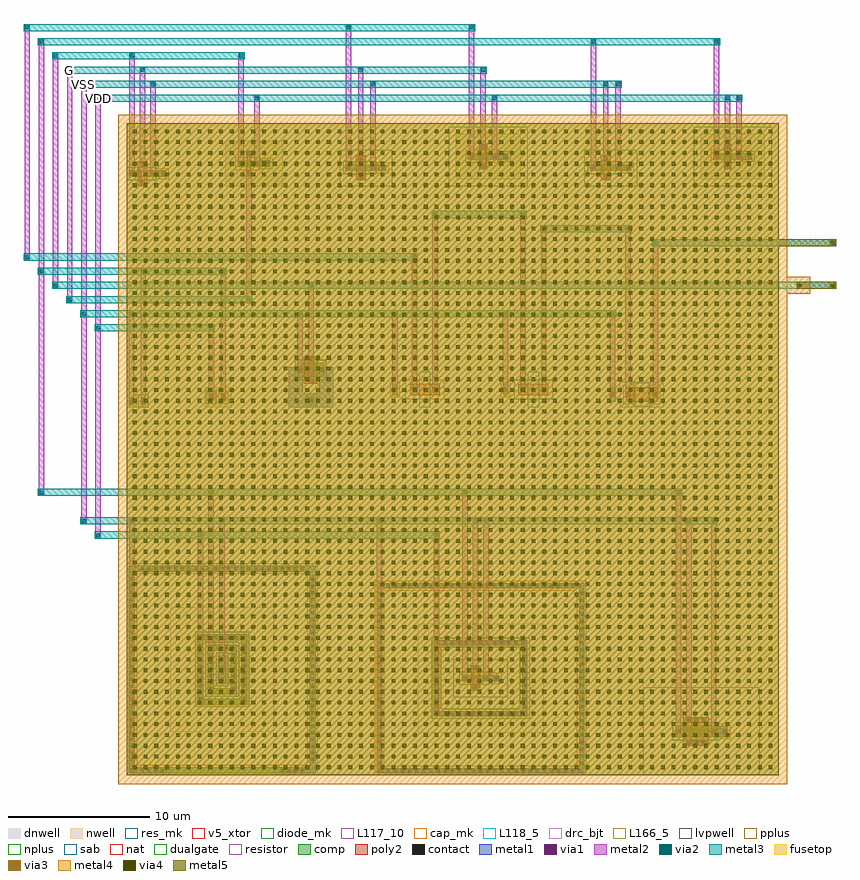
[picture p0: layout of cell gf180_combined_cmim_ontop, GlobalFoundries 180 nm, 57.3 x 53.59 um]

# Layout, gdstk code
import gdstk
lib = gdstk.Library(unit=1e-6, precision=1e-09)
def R(c, l, rs):  # rectangles x0, y0, x1, y1
    for r in rs: c.add(gdstk.rectangle(r[:2], r[2:], *l))
def A(c, l, x, y, w, h, nx, ny, dx, dy):  # array of equal rectangles
    R(c, l, [(x+i*dx, y+j*dy, x+i*dx+w, y+j*dy+h) for i in range(nx) for j in range(ny)])
def P(c, l, *ps):  # polygons
    for p in ps: c.add(gdstk.Polygon(p, *l))
nat = (5, 0)
dnwell = (12, 0)
nwell = (21, 0)
comp = (22, 0)
poly2 = (30, 0)
pplus = (31, 0)
nplus = (32, 0)
contact = (33, 0)
metal1 = (34, 0)
via1 = (35, 0)
metal2 = (36, 0)
via2 = (38, 0)
via3 = (40, 0)
via4 = (41, 0)
metal3 = (42, 0)
metal4 = (46, 0)
sab = (49, 0)
dualgate = (55, 0)
resistor = (62, 0)
fusetop = (75, 0)
metal5 = (81, 0)
res_mk = (110, 5)
v5_xtor = (112, 1)
diode_mk = (115, 5)
cap_mk = (117, 5)
L117_10 = (117, 10)
L118_5 = (118, 5)
drc_bjt = (127, 5)
L166_5 = (166, 5)
lvpwell = (204, 0)

npn_00p54x02p00 = lib.new_cell('npn_00p54x02p00')
R(npn_00p54x02p00, dnwell, [(3.2,3.2,10.54,12)])
R(npn_00p54x02p00, comp, [(6.6,6.6,7.14,8.6)])
P(npn_00p54x02p00, comp, [(5.86,5.86),(5.86,9.34),(7.46,9.34),(7.46,8.92),(6.28,8.92),(6.28,6.28),(7.46,6.28),(7.46,9.34),(7.88,9.34),(7.88,5.86)],
  [(5.12,5.12),(5.12,10.08),(8.2,10.08),(8.2,9.66),(5.54,9.66),(5.54,5.54),(8.2,5.54),(8.2,10.08),(8.62,10.08),(8.62,5.12)],
  [(0.28,0.28),(0.28,14.92),(13.04,14.92),(13.04,14.5),(0.7,14.5),(0.7,0.7),(13.04,0.7),(13.04,14.92),(13.46,14.92),(13.46,0.28)])
P(npn_00p54x02p00, pplus, [(5.7,5.7),(5.7,9.5),(7.3,9.5),(7.3,8.76),(6.44,8.76),(6.44,6.44),(7.3,6.44),(7.3,9.5),(8.04,9.5),(8.04,5.7)],
  [(0.12,0.12),(0.12,15.08),(12.88,15.08),(12.88,14.34),(0.86,14.34),(0.86,0.86),(12.88,0.86),(12.88,15.08),(13.62,15.08),(13.62,0.12)])
R(npn_00p54x02p00, nplus, [(6.44,6.44,7.3,8.76)])
P(npn_00p54x02p00, nplus, [(4.96,4.96),(4.96,10.24),(8.04,10.24),(8.04,9.5),(5.7,9.5),(5.7,5.7),(8.04,5.7),(8.04,10.24),(8.78,10.24),(8.78,4.96)])
A(npn_00p54x02p00, contact, 1.12, 0.38, 0.22, 0.22, 4, 1, 0.47, 0)
A(npn_00p54x02p00, contact, 10.99, 0.38, 0.22, 0.22, 4, 1, 0.47, 0)
A(npn_00p54x02p00, contact, 0.38, 1.145, 0.22, 0.22, 1, 28, 0, 0.47)
A(npn_00p54x02p00, contact, 13.14, 1.145, 0.22, 0.22, 1, 28, 0, 0.47)
A(npn_00p54x02p00, contact, 5.22, 5.4, 0.22, 0.22, 1, 9, 0, 0.47)
A(npn_00p54x02p00, contact, 8.3, 5.4, 0.22, 0.22, 1, 9, 0, 0.47)
A(npn_00p54x02p00, contact, 5.96, 6.12, 0.22, 0.22, 1, 6, 0, 0.47)
A(npn_00p54x02p00, contact, 7.56, 6.12, 0.22, 0.22, 1, 6, 0, 0.47)
A(npn_00p54x02p00, contact, 6.76, 6.78, 0.22, 0.22, 1, 4, 0, 0.47)
A(npn_00p54x02p00, contact, 6.06, 9.02, 0.22, 0.22, 4, 1, 0.47, 0)
A(npn_00p54x02p00, contact, 5.35, 9.76, 0.22, 0.22, 7, 1, 0.47, 0)
A(npn_00p54x02p00, contact, 1.12, 14.6, 0.22, 0.22, 25, 1, 0.47, 0)
R(npn_00p54x02p00, metal1, [(0.28,0.28,0.7,14.92), (0.28,0.28,3.2,0.7), (10.54,0.28,13.46,0.7), (13.04,0.28,13.46,14.92), (5.12,5.12,5.54,10.08), (5.12,5.12,5.54,9.66), (8.2,5.12,8.62,10.08), (8.2,5.12,8.62,9.66), (5.86,5.86,6.28,9.34), (5.86,5.86,6.28,8.92), (7.46,5.86,7.88,9.34), (7.46,5.86,7.88,8.92), (6.6,6.6,7.14,8.6), (6.6,6.6,7.14,8.6), (5.86,8.92,7.88,9.34), (5.86,8.92,7.88,9.34), (5.12,9.66,8.62,10.08), (5.12,9.66,8.62,10.08), (0.28,14.5,13.46,14.92)])
P(npn_00p54x02p00, metal1, [(10.54,0.28),(10.54,0.7),(13.04,0.7),(13.04,14.92),(13.46,14.92),(13.46,0.28)],
  [(0.28,0.28),(0.28,14.92),(13.04,14.92),(13.04,14.5),(0.7,14.5),(0.7,0.7),(3.2,0.7),(3.2,0.28)])
R(npn_00p54x02p00, L118_5, [(6.6,6.6,7.14,8.6)])
R(npn_00p54x02p00, drc_bjt, [(3.2,3.2,10.54,12)])
R(npn_00p54x02p00, lvpwell, [(5.7,5.7,8.04,9.5)])

nfet = lib.new_cell('nfet')
R(nfet, dnwell, [(-3.55,-3.63,5.34,4.05)])
P(nfet, comp, [(-0.42,-0.01),(-0.42,0.43),(0,0.43),(0,0.42),(1.08,0.42),(1.08,0.43),(2.21,0.43),(2.21,-0.01),(1.08,-0.01),(1.08,0),(0,0),(0,-0.01)])
R(nfet, poly2, [(0.19,-0.66,0.89,1.08)])
R(nfet, pplus, [(1.5,-0.17,2.38,0.59)])
R(nfet, nplus, [(-0.59,-0.25,1.5,0.67)])
R(nfet, contact, [(0.43,-0.59,0.65,-0.37), (-0.32,0.1,-0.1,0.32), (1.18,0.1,1.4,0.32), (1.89,0.1,2.11,0.32), (0.43,0.79,0.65,1.01)])
R(nfet, metal1, [(0.35,-0.67,0.73,-0.29), (-0.4,0.02,-0.02,0.4), (1.1,0.02,1.48,0.4), (1.81,0.02,2.19,0.4), (0.35,0.71,0.73,1.09)])
R(nfet, lvpwell, [(-1.04,-1.12,2.83,1.54)])

dnwell_nmos = lib.new_cell('dnwell_nmos')
R(dnwell_nmos, dnwell, [(-3.55,-3.63,5.34,4.05)])
P(dnwell_nmos, comp, [(-2.4,-2.48),(-2.4,2.54),(-2.04,2.54),(-2.04,-2.12),(3.83,-2.12),(3.83,2.54),(-2.4,2.54),(-2.4,2.9),(4.19,2.9),(4.19,-2.48)],
  [(-6.41,-6.49),(-6.41,6.55),(-6.05,6.55),(-6.05,-6.13),(7.84,-6.13),(7.84,6.55),(-6.41,6.55),(-6.41,6.91),(8.2,6.91),(8.2,-6.49)])
P(dnwell_nmos, pplus, [(-6.57,-6.65),(-6.57,6.39),(-5.89,6.39),(-5.89,-5.97),(7.68,-5.97),(7.68,6.39),(-6.57,6.39),(-6.57,7.07),(8.36,7.07),(8.36,-6.65)])
P(dnwell_nmos, nplus, [(-2.56,-2.64),(-2.56,2.38),(-1.88,2.38),(-1.88,-1.96),(3.67,-1.96),(3.67,2.38),(-2.56,2.38),(-2.56,3.06),(4.35,3.06),(4.35,-2.64)])
A(dnwell_nmos, contact, -6.215, -6.42, 0.22, 0.22, 29, 2, 0.5, 13.04)
A(dnwell_nmos, contact, -6.34, -5.9, 0.22, 0.22, 1, 25, 0, 0.5)
A(dnwell_nmos, contact, 7.91, -5.9, 0.22, 0.22, 1, 25, 0, 0.5)
A(dnwell_nmos, contact, -2.215, -2.41, 0.22, 0.22, 13, 2, 0.5, 5.02)
A(dnwell_nmos, contact, -2.33, -1.9, 0.22, 0.22, 1, 9, 0, 0.5)
A(dnwell_nmos, contact, 3.9, -1.9, 0.22, 0.22, 1, 9, 0, 0.5)
R(dnwell_nmos, metal1, [(1.48,0.02,1.81,0.4)])
P(dnwell_nmos, metal1, [(-2.4,-2.48),(-2.4,2.54),(-2.04,2.54),(-2.04,-2.12),(3.83,-2.12),(3.83,2.54),(-2.4,2.54),(-2.4,2.9),(4.19,2.9),(4.19,-2.48)],
  [(-6.41,-6.49),(-6.41,6.55),(-6.05,6.55),(-6.05,-6.13),(7.84,-6.13),(7.84,6.55),(-6.41,6.55),(-6.41,6.91),(8.2,6.91),(8.2,-6.49)])
dnwell_nmos.add(gdstk.Reference(nfet, (0,0)))

nfet_06v0_nvt = lib.new_cell('nfet_06v0_nvt')
R(nfet_06v0_nvt, nat, [(-2.73,-2.71,5.5,3.51)])
R(nfet_06v0_nvt, comp, [(-0.46,0,3.23,0.8)])
R(nfet_06v0_nvt, poly2, [(0.11,-0.61,1.91,1.41)])
R(nfet_06v0_nvt, pplus, [(2.48,-0.17,3.4,0.97)])
R(nfet_06v0_nvt, nplus, [(-0.63,-0.24,2.48,1.04)])
A(nfet_06v0_nvt, contact, 0.39, -0.53, 0.22, 0.22, 3, 2, 0.51, 1.64)
R(nfet_06v0_nvt, contact, [(-0.34,0.29,-0.12,0.51), (2.14,0.29,2.36,0.51), (2.88,0.29,3.1,0.51)])
R(nfet_06v0_nvt, metal1, [(0.31,-0.61,1.71,-0.23), (-0.42,0.21,-0.04,0.59), (2.06,0.21,2.44,0.59), (2.8,0.21,3.18,0.59), (0.31,1.03,1.71,1.41)])
R(nfet_06v0_nvt, dualgate, [(-2.73,-2.71,5.5,3.51)])

nfet_06v0_nvt_tap = lib.new_cell('nfet_06v0_nvt_tap')
R(nfet_06v0_nvt_tap, metal1, [(2.44,0.21,2.8,0.59)])
nfet_06v0_nvt_tap.add(gdstk.Reference(nfet_06v0_nvt, (0,0)))

diode_nd2ps = lib.new_cell('diode_nd2ps')
R(diode_nd2ps, comp, [(-0.84,0,-0.48,0.565), (0,0,0.36,0.565)])
R(diode_nd2ps, pplus, [(-1,-0.16,-0.32,0.725)])
R(diode_nd2ps, nplus, [(-0.16,-0.16,0.52,0.725)])
R(diode_nd2ps, contact, [(-0.77,0.175,-0.55,0.395), (0.07,0.175,0.29,0.395)])
R(diode_nd2ps, metal1, [(-0.85,0.09,-0.47,0.475), (-0.01,0.09,0.37,0.475)])
R(diode_nd2ps, diode_mk, [(-1,-0.16,0.52,0.725)])
R(diode_nd2ps, lvpwell, [(-1,-0.16,0.52,0.725)])

diode_nd2ps_03v3 = lib.new_cell('diode_nd2ps_03v3')
diode_nd2ps_03v3.add(gdstk.Reference(diode_nd2ps, (0,0)))

diode_pd2nw = lib.new_cell('diode_pd2nw')
R(diode_pd2nw, nwell, [(-1.12,-0.43,0.79,0.995)])
R(diode_pd2nw, comp, [(-0.84,0,-0.48,0.565), (0,0,0.36,0.565)])
R(diode_pd2nw, pplus, [(-0.16,-0.16,0.52,0.725)])
R(diode_pd2nw, nplus, [(-1,-0.16,-0.32,0.725)])
R(diode_pd2nw, contact, [(-0.77,0.175,-0.55,0.395), (0.07,0.175,0.29,0.395)])
R(diode_pd2nw, metal1, [(-0.85,0.09,-0.47,0.475), (-0.01,0.09,0.37,0.475)])
R(diode_pd2nw, diode_mk, [(0,0,0.36,0.565)])

diode_pd2nw_03v3 = lib.new_cell('diode_pd2nw_03v3')
diode_pd2nw_03v3.add(gdstk.Reference(diode_pd2nw, (0,0)))

cap_nmos = lib.new_cell('cap_nmos')
R(cap_nmos, comp, [(0,0,1.88,1)])
R(cap_nmos, poly2, [(0.44,-0.46,1.44,1.46)])
R(cap_nmos, nplus, [(-0.16,-0.23,2.04,1.23)])
R(cap_nmos, contact, [(0.83,-0.39,1.05,-0.17), (0.07,0.39,0.29,0.61), (1.59,0.39,1.81,0.61), (0.83,1.17,1.05,1.39)])
R(cap_nmos, metal1, [(0.75,-0.47,1.13,1.47)])
P(cap_nmos, metal1, [(-0.63,-2.13),(-0.63,0.69),(0.37,0.69),(0.37,-1.13),(1.53,-1.13),(1.53,0.31),(1.51,0.31),(1.51,0.69),(2.53,0.69),(2.53,-2.13)])
R(cap_nmos, L166_5, [(0,0,1.88,1)])
R(cap_nmos, lvpwell, [(0,0,1.88,1)])

cap_nmos_03v3 = lib.new_cell('cap_nmos_03v3')
R(cap_nmos_03v3, comp, [(0.72,-1.86,1.18,-1.4)])
R(cap_nmos_03v3, pplus, [(0.56,-2.02,1.34,-1.24)])
R(cap_nmos_03v3, contact, [(0.84,-1.74,1.06,-1.52)])
cap_nmos_03v3.add(gdstk.Reference(cap_nmos, (0,0)))

ppolyf_u_resistor = lib.new_cell('ppolyf_u_resistor')
R(ppolyf_u_resistor, comp, [(-1.88,0,-1.52,0.8)])
R(ppolyf_u_resistor, poly2, [(-0.66,0,1.46,0.8)])
R(ppolyf_u_resistor, pplus, [(-0.96,-0.3,1.76,1.1), (-2.04,-0.16,-1.36,0.96)])
R(ppolyf_u_resistor, contact, [(-1.81,0.29,-1.59,0.51), (-0.44,0.29,-0.22,0.51), (1.02,0.29,1.24,0.51)])
R(ppolyf_u_resistor, metal1, [(-1.89,0.21,-1.51,0.59), (-0.52,0.21,-0.14,0.59), (0.94,0.21,1.32,0.59)])
R(ppolyf_u_resistor, sab, [(0,-0.855,0.8,1.655)])
R(ppolyf_u_resistor, res_mk, [(0,0,0.8,0.8)])

ppolyf_u = lib.new_cell('ppolyf_u')
ppolyf_u.add(gdstk.Reference(ppolyf_u_resistor, (0,0)))

npolyf_u_resistor = lib.new_cell('npolyf_u_resistor')
R(npolyf_u_resistor, comp, [(-1.74,0,-1.38,0.8)])
R(npolyf_u_resistor, poly2, [(-0.66,0,1.46,0.8)])
R(npolyf_u_resistor, pplus, [(-1.9,-0.16,-1.22,0.96)])
R(npolyf_u_resistor, nplus, [(-0.96,-0.3,1.76,1.1)])
R(npolyf_u_resistor, contact, [(-1.67,0.29,-1.45,0.51), (-0.44,0.29,-0.22,0.51), (1.02,0.29,1.24,0.51)])
R(npolyf_u_resistor, metal1, [(-1.75,0.21,-1.37,0.59), (-0.52,0.21,-0.14,0.59), (0.94,0.21,1.32,0.59)])
R(npolyf_u_resistor, sab, [(0,-0.855,0.8,1.655)])
R(npolyf_u_resistor, res_mk, [(0,0,0.8,0.8)])

npolyf_u = lib.new_cell('npolyf_u')
npolyf_u.add(gdstk.Reference(npolyf_u_resistor, (0,0)))

ppolyf_u_high_rs_resisto = lib.new_cell('ppolyf_u_high_Rs_resistor')
R(ppolyf_u_high_rs_resisto, comp, [(-1.76,0,-1.34,1)])
R(ppolyf_u_high_rs_resisto, poly2, [(-0.64,0,1.64,1)])
R(ppolyf_u_high_rs_resisto, pplus, [(-0.82,-0.18,0,1.18), (1,-0.18,1.82,1.18), (-1.78,-0.02,-1.32,1.02)])
R(ppolyf_u_high_rs_resisto, contact, [(-1.66,0.39,-1.44,0.61), (-0.57,0.39,-0.35,0.61), (1.35,0.39,1.57,0.61)])
R(ppolyf_u_high_rs_resisto, metal1, [(-1.74,0.31,-1.36,0.69), (-0.65,0.31,-0.27,0.69), (1.27,0.31,1.65,0.69)])
R(ppolyf_u_high_rs_resisto, sab, [(-0.1,-0.34,1.1,1.34)])
R(ppolyf_u_high_rs_resisto, resistor, [(-1.04,-0.4,2.04,1.4)])
R(ppolyf_u_high_rs_resisto, res_mk, [(0,0,1,1)])

ppolyf_u_1k = lib.new_cell('ppolyf_u_1k')
ppolyf_u_1k.add(gdstk.Reference(ppolyf_u_high_rs_resisto, (0,0)))

nfet_1 = lib.new_cell('nfet$1')
P(nfet_1, comp, [(-0.42,-0.01),(-0.42,0.43),(0,0.43),(0,0.42),(1.08,0.42),(1.08,0.43),(2.21,0.43),(2.21,-0.01),(1.08,-0.01),(1.08,0),(0,0),(0,-0.01)])
R(nfet_1, poly2, [(0.19,-0.66,0.89,1.08)])
R(nfet_1, pplus, [(1.5,-0.17,2.38,0.59)])
R(nfet_1, nplus, [(-0.59,-0.25,1.5,0.67)])
R(nfet_1, contact, [(0.43,-0.59,0.65,-0.37), (-0.32,0.1,-0.1,0.32), (1.18,0.1,1.4,0.32), (1.89,0.1,2.11,0.32), (0.43,0.79,0.65,1.01)])
R(nfet_1, metal1, [(0.35,-0.67,0.73,-0.29), (-0.4,0.02,-0.02,0.4), (1.1,0.02,1.48,0.4), (1.81,0.02,2.19,0.4), (0.35,0.71,0.73,1.09)])

nfet_03v3_tap = lib.new_cell('nfet_03v3_tap')
R(nfet_03v3_tap, metal1, [(1.48,0.02,1.81,0.4)])
nfet_03v3_tap.add(gdstk.Reference(nfet_1, (0,0)))

pfet = lib.new_cell('pfet')
R(pfet, nwell, [(-1.33,-1.38,2.72,1.8)])
P(pfet, comp, [(-0.46,-0.01),(-0.46,0.43),(0,0.43),(0,0.42),(0.66,0.42),(0.66,0.43),(1.85,0.43),(1.85,-0.01),(0.66,-0.01),(0.66,0),(0,0),(0,-0.01)])
P(pfet, poly2, [(0.14,-0.68),(0.14,-0.3),(0.19,-0.3),(0.19,0.72),(0.14,0.72),(0.14,1.1),(0.52,1.1),(0.52,0.72),(0.47,0.72),(0.47,-0.3),(0.52,-0.3),(0.52,-0.68)])
R(pfet, pplus, [(-0.63,-0.25,1.12,0.67)])
R(pfet, nplus, [(1.12,-0.17,2.02,0.59)])
R(pfet, contact, [(0.22,-0.6,0.44,-0.38), (-0.34,0.1,-0.12,0.32), (0.78,0.1,1,0.32), (1.51,0.1,1.73,0.32), (0.22,0.8,0.44,1.02)])
R(pfet, metal1, [(0.14,-0.68,0.52,-0.3), (-0.42,0.02,-0.04,0.4), (0.7,0.02,1.08,0.4), (1.43,0.02,1.81,0.4), (0.14,0.72,0.52,1.1)])

pfet_03v3_tap = lib.new_cell('pfet_03v3_tap')
R(pfet_03v3_tap, metal1, [(1.08,0.02,1.43,0.4)])
pfet_03v3_tap.add(gdstk.Reference(pfet, (0,0)))

nfet_2 = lib.new_cell('nfet$2')
P(nfet_2, comp, [(-0.42,-0.01),(-0.42,0.43),(0,0.43),(0,0.42),(1.32,0.42),(1.32,0.43),(2.45,0.43),(2.45,-0.01),(1.32,-0.01),(1.32,0),(0,0),(0,-0.01)])
R(nfet_2, poly2, [(0.31,-0.66,1.01,1.08)])
R(nfet_2, pplus, [(1.74,-0.17,2.62,0.59)])
R(nfet_2, nplus, [(-0.59,-0.25,1.74,0.67)])
R(nfet_2, contact, [(0.55,-0.59,0.77,-0.37), (-0.32,0.1,-0.1,0.32), (1.42,0.1,1.64,0.32), (2.13,0.1,2.35,0.32), (0.55,0.79,0.77,1.01)])
R(nfet_2, metal1, [(0.47,-0.67,0.85,-0.29), (-0.4,0.02,-0.02,0.4), (1.34,0.02,1.72,0.4), (2.05,0.02,2.43,0.4), (0.47,0.71,0.85,1.09)])
R(nfet_2, dualgate, [(-0.84,-1.08,2.87,1.5)])

nfet_06v0_tap = lib.new_cell('nfet_06v0_tap')
R(nfet_06v0_tap, metal1, [(1.72,0.02,2.05,0.4)])
nfet_06v0_tap.add(gdstk.Reference(nfet_2, (0,0)))

pfet_1 = lib.new_cell('pfet$1')
R(pfet_1, nwell, [(-1.33,-1.38,3.23,1.8)])
P(pfet_1, comp, [(-0.46,-0.01),(-0.46,0.43),(0,0.43),(0,0.42),(1.17,0.42),(1.17,0.43),(2.36,0.43),(2.36,-0.01),(1.17,-0.01),(1.17,0),(0,0),(0,-0.01)])
R(pfet_1, poly2, [(0.31,-0.68,0.86,1.1)])
R(pfet_1, pplus, [(-0.63,-0.25,1.63,0.67)])
R(pfet_1, nplus, [(1.63,-0.17,2.53,0.59)])
R(pfet_1, contact, [(0.475,-0.6,0.695,-0.38), (-0.34,0.1,-0.12,0.32), (1.29,0.1,1.51,0.32), (2.02,0.1,2.24,0.32), (0.475,0.8,0.695,1.02)])
R(pfet_1, metal1, [(0.395,-0.68,0.775,-0.3), (-0.42,0.02,-0.04,0.4), (1.21,0.02,1.59,0.4), (1.94,0.02,2.32,0.4), (0.395,0.72,0.775,1.1)])
R(pfet_1, dualgate, [(-1.83,-1.88,3.73,2.3)])

pfet_06v0_tap = lib.new_cell('pfet_06v0_tap')
R(pfet_06v0_tap, metal1, [(1.59,0.02,1.94,0.4)])
pfet_06v0_tap.add(gdstk.Reference(pfet_1, (0,0)))

nfet_3 = lib.new_cell('nfet$3')
P(nfet_3, comp, [(-0.42,-0.01),(-0.42,0.43),(0,0.43),(0,0.42),(1.32,0.42),(1.32,0.43),(2.45,0.43),(2.45,-0.01),(1.32,-0.01),(1.32,0),(0,0),(0,-0.01)])
R(nfet_3, poly2, [(0.31,-0.66,1.01,1.08)])
R(nfet_3, pplus, [(1.74,-0.17,2.62,0.59)])
R(nfet_3, nplus, [(-0.59,-0.25,1.74,0.67)])
R(nfet_3, contact, [(0.55,-0.59,0.77,-0.37), (-0.32,0.1,-0.1,0.32), (1.42,0.1,1.64,0.32), (2.13,0.1,2.35,0.32), (0.55,0.79,0.77,1.01)])
R(nfet_3, metal1, [(0.47,-0.67,0.85,-0.29), (-0.4,0.02,-0.02,0.4), (1.34,0.02,1.72,0.4), (2.05,0.02,2.43,0.4), (0.47,0.71,0.85,1.09)])
R(nfet_3, dualgate, [(-0.84,-1.08,2.87,1.5)])
R(nfet_3, v5_xtor, [(-0.84,-1.08,2.87,1.5)])

nfet_05v0_tap = lib.new_cell('nfet_05v0_tap')
R(nfet_05v0_tap, metal1, [(1.72,0.02,2.05,0.4)])
nfet_05v0_tap.add(gdstk.Reference(nfet_3, (0,0)))

pfet_2 = lib.new_cell('pfet$2')
R(pfet_2, nwell, [(-1.33,-1.38,3.18,1.8)])
P(pfet_2, comp, [(-0.46,-0.01),(-0.46,0.43),(0,0.43),(0,0.42),(1.12,0.42),(1.12,0.43),(2.31,0.43),(2.31,-0.01),(1.12,-0.01),(1.12,0),(0,0),(0,-0.01)])
R(pfet_2, poly2, [(0.31,-0.68,0.81,1.1)])
R(pfet_2, pplus, [(-0.63,-0.25,1.58,0.67)])
R(pfet_2, nplus, [(1.58,-0.17,2.48,0.59)])
R(pfet_2, contact, [(0.45,-0.6,0.67,-0.38), (-0.34,0.1,-0.12,0.32), (1.24,0.1,1.46,0.32), (1.97,0.1,2.19,0.32), (0.45,0.8,0.67,1.02)])
R(pfet_2, metal1, [(0.37,-0.68,0.75,-0.3), (-0.42,0.02,-0.04,0.4), (1.16,0.02,1.54,0.4), (1.89,0.02,2.27,0.4), (0.37,0.72,0.75,1.1)])
R(pfet_2, dualgate, [(-1.83,-1.88,3.68,2.3)])
R(pfet_2, v5_xtor, [(-1.83,-1.88,3.68,2.3)])

pfet_05v0_tap = lib.new_cell('pfet_05v0_tap')
R(pfet_05v0_tap, metal1, [(1.54,0.02,1.89,0.4)])
pfet_05v0_tap.add(gdstk.Reference(pfet_2, (0,0)))

cap_mim = lib.new_cell('cap_mim')
A(cap_mim, via4, 0.45, 0.45, 0.26, 0.26, 60, 60, 0.76, 0.76)
R(cap_mim, metal4, [(-0.6,-0.6,46.6,46.6)])
R(cap_mim, fusetop, [(0,0,46,46)])
R(cap_mim, metal5, [(0,0,46,46)])
R(cap_mim, cap_mk, [(-0.6,-0.6,46.6,46.6)])
R(cap_mim, L117_10, [(0,0,46,0.1)])

gf180_combined_cmim_onto = lib.new_cell('gf180_combined_cmim_ontop')
R(gf180_combined_cmim_onto, metal1, [(17.65,0.15,18.03,0.53), (0.2,0.175,0.58,0.555), (39.47,2.1,39.85,2.48), (38.74,2.92,39.12,3.3), (41.22,2.92,41.6,3.3), (21.66,4.16,22.04,4.54), (24.42,5.98,24.8,6.36), (23.67,6.67,24.05,7.05), (25.17,6.67,25.55,7.05), (6.54,7.285,6.92,7.665), (5.77,8.82,6.15,9.2), (5.015,9.56,5.395,9.94), (0.15,26.215,0.53,26.595), (0.99,26.215,1.37,26.595), (5.79,26.485,6.17,26.865), (6.63,26.485,7.01,26.865), (34.09,26.67,34.47,27.05), (35.18,26.67,35.56,27.05), (37.1,26.67,37.48,27.05), (18.74,27.025,19.12,27.405), (20.11,27.025,20.49,27.405), (21.57,27.025,21.95,27.405), (26.54,27.025,26.92,27.405), (27.77,27.025,28.15,27.405), (29.23,27.025,29.61,27.405), (12.81,27.62,13.19,28), (12.05,28.4,12.43,28.78), (0.94,41.56,1.32,41.94), (16.33,41.97,16.71,42.35), (33.6,41.97,33.98,42.35), (0.19,42.25,0.57,42.63), (1.69,42.25,2.07,42.63), (8.44,42.26,8.82,42.64), (15.46,42.66,15.84,43.04), (17.2,42.66,17.58,43.04), (32.73,42.66,33.11,43.04), (34.47,42.66,34.85,43.04), (24.955,42.76,25.335,43.14), (42.2,42.76,42.58,43.14), (7.88,42.96,8.26,43.34), (9,42.96,9.38,43.34), (24.14,43.46,24.52,43.84), (25.77,43.46,26.15,43.84), (41.41,43.46,41.79,43.84), (42.99,43.46,43.37,43.84)])
R(gf180_combined_cmim_onto, via1, [(17.71,0.21,17.97,0.47), (0.26,0.235,0.52,0.495), (39.53,2.16,39.79,2.42), (38.8,2.98,39.06,3.24), (41.28,2.98,41.54,3.24), (21.72,4.22,21.98,4.48), (24.48,6.04,24.74,6.3), (23.73,6.73,23.99,6.99), (25.23,6.73,25.49,6.99), (6.6,7.345,6.86,7.605), (5.83,8.88,6.09,9.14), (5.075,9.62,5.335,9.88), (0.21,26.275,0.47,26.535), (1.05,26.275,1.31,26.535), (5.85,26.545,6.11,26.805), (6.69,26.545,6.95,26.805), (34.15,26.73,34.41,26.99), (35.24,26.73,35.5,26.99), (37.16,26.73,37.42,26.99), (18.8,27.085,19.06,27.345), (20.17,27.085,20.43,27.345), (21.63,27.085,21.89,27.345), (26.6,27.085,26.86,27.345), (27.83,27.085,28.09,27.345), (29.29,27.085,29.55,27.345), (12.87,27.68,13.13,27.94), (12.11,28.46,12.37,28.72), (1,41.62,1.26,41.88), (16.39,42.03,16.65,42.29), (33.66,42.03,33.92,42.29), (0.25,42.31,0.51,42.57), (1.75,42.31,2.01,42.57), (8.5,42.32,8.76,42.58), (15.52,42.72,15.78,42.98), (17.26,42.72,17.52,42.98), (32.79,42.72,33.05,42.98), (34.53,42.72,34.79,42.98), (25.015,42.82,25.275,43.08), (42.26,42.82,42.52,43.08), (7.94,43.02,8.2,43.28), (9.06,43.02,9.32,43.28), (24.2,43.52,24.46,43.78), (25.83,43.52,26.09,43.78), (41.47,43.52,41.73,43.78), (43.05,43.52,43.31,43.78)])
R(gf180_combined_cmim_onto, metal2, [(17.65,0.15,18.03,18.15), (0.2,0.175,0.58,18.15), (39.47,2.1,39.85,18.15), (38.74,2.92,39.12,20.15), (41.22,2.92,41.6,18.15), (21.66,4.16,22.04,17.15), (24.42,5.98,24.8,18.15), (23.67,6.67,24.05,20.15), (25.17,6.67,25.55,18.15), (6.54,7.285,6.92,18.15), (5.77,8.82,6.15,20.15), (5.015,9.56,5.395,17.15), (-2.19,16.77,-1.81,47.93), (-3.19,17.77,-2.81,48.93), (-6.19,19.77,-5.81,51.93), (0.15,26.215,0.53,32.75), (0.99,26.215,1.37,35.75), (5.79,26.485,6.17,31.75), (6.63,26.485,7.01,35.75), (34.09,26.67,34.47,32.75), (35.18,26.67,35.56,38.75), (37.1,26.67,37.48,37.75), (18.74,27.025,19.12,32.75), (20.11,27.025,20.49,36.75), (21.57,27.025,21.95,39.75), (26.54,27.025,26.92,32.75), (27.77,27.025,28.15,39.75), (29.23,27.025,29.61,38.75), (12.81,27.62,13.19,34.75), (12.05,28.4,12.43,32.75), (-4.19,33.37,-3.81,49.93), (8.44,33.37,8.82,42.64), (-5.19,34.37,-4.81,50.93), (-7.19,36.37,-6.81,52.93), (0.94,41.56,1.32,49.93), (16.33,41.97,16.71,49.93), (33.6,41.97,33.98,48.93), (0.19,42.25,0.57,50.93), (1.69,42.25,2.07,48.93), (15.46,42.66,15.84,52.93), (17.2,42.66,17.58,48.93), (32.73,42.66,33.11,51.93), (34.47,42.66,34.85,48.93), (24.955,42.76,25.335,49.93), (42.2,42.76,42.58,47.93), (7.88,42.96,8.26,50.93), (9,42.96,9.38,47.93), (24.14,43.46,24.52,52.93), (25.77,43.46,26.15,47.93), (41.41,43.46,41.79,51.93), (42.99,43.46,43.37,47.93)])
R(gf180_combined_cmim_onto, via2, [(-2.13,16.83,-1.87,17.09), (5.075,16.83,5.335,17.09), (21.72,16.83,21.98,17.09), (-3.13,17.83,-2.87,18.09), (0.26,17.83,0.52,18.09), (6.6,17.83,6.86,18.09), (17.71,17.83,17.97,18.09), (24.48,17.83,24.74,18.09), (25.23,17.83,25.49,18.09), (39.53,17.83,39.79,18.09), (41.28,17.83,41.54,18.09), (-6.13,19.83,-5.87,20.09), (5.83,19.83,6.09,20.09), (23.73,19.83,23.99,20.09), (38.8,19.83,39.06,20.09), (-2.13,31.43,-1.87,31.69), (5.85,31.43,6.11,31.69), (-3.13,32.43,-2.87,32.69), (0.21,32.43,0.47,32.69), (12.11,32.43,12.37,32.69), (18.8,32.43,19.06,32.69), (26.6,32.43,26.86,32.69), (34.15,32.43,34.41,32.69), (-4.13,33.43,-3.87,33.69), (8.5,33.43,8.76,33.69), (-5.13,34.43,-4.87,34.69), (12.87,34.43,13.13,34.69), (-6.13,35.43,-5.87,35.69), (1.05,35.43,1.31,35.69), (6.69,35.43,6.95,35.69), (-7.13,36.43,-6.87,36.69), (20.17,36.43,20.43,36.69), (37.16,37.43,37.42,37.69), (29.29,38.43,29.55,38.69), (35.24,38.43,35.5,38.69), (21.63,39.43,21.89,39.69), (27.83,39.43,28.09,39.69), (-2.13,47.61,-1.87,47.87), (9.06,47.61,9.32,47.87), (25.83,47.61,26.09,47.87), (42.26,47.61,42.52,47.87), (43.05,47.61,43.31,47.87), (-3.13,48.61,-2.87,48.87), (1.75,48.61,2.01,48.87), (17.26,48.61,17.52,48.87), (33.66,48.61,33.92,48.87), (34.53,48.61,34.79,48.87), (-4.13,49.61,-3.87,49.87), (1,49.61,1.26,49.87), (16.39,49.61,16.65,49.87), (25.015,49.61,25.275,49.87), (-5.13,50.61,-4.87,50.87), (0.25,50.61,0.51,50.87), (7.94,50.61,8.2,50.87), (-6.13,51.61,-5.87,51.87), (32.79,51.61,33.05,51.87), (41.47,51.61,41.73,51.87), (-7.13,52.61,-6.87,52.87), (15.52,52.61,15.78,52.87), (24.2,52.61,24.46,52.87)])
R(gf180_combined_cmim_onto, via3, [(49.67,34.43,49.93,34.69), (49.67,37.43,49.93,37.69)])
R(gf180_combined_cmim_onto, via4, [(47.37,34.43,47.63,34.69), (49.67,34.43,49.93,34.69), (49.67,37.43,49.93,37.69)])
R(gf180_combined_cmim_onto, metal3, [(-2.25,16.71,22.1,17.21), (-3.25,17.71,41.66,18.21), (-6.25,19.71,39.18,20.21), (-2.25,31.31,6.23,31.81), (-3.25,32.31,34.53,32.81), (-4.25,33.31,8.88,33.81), (-5.25,34.31,50.05,34.81), (-6.25,35.31,7.07,35.81), (-7.25,36.31,20.55,36.81), (37.04,37.31,50.05,37.81), (29.17,38.31,35.62,38.81), (21.51,39.31,28.21,39.81), (-2.25,47.49,43.43,47.99), (-3.25,48.49,34.91,48.99), (-4.25,49.49,25.395,49.99), (-5.25,50.49,8.32,50.99), (-6.25,51.49,41.85,51.99), (-7.25,52.49,24.58,52.99)])
R(gf180_combined_cmim_onto, metal4, [(46.6,33.96,48.2,35.16), (49.55,34.31,50.05,34.81), (49.55,37.31,50.05,37.81)])
R(gf180_combined_cmim_onto, metal5, [(47.25,34.31,50.05,34.81), (44.75,37.31,50.05,37.81)])
gf180_combined_cmim_onto.add(gdstk.Reference(npn_00p54x02p00, (-0.12,-0.12)))
gf180_combined_cmim_onto.add(gdstk.Reference(dnwell_nmos, (24.07,6.65)))
gf180_combined_cmim_onto.add(gdstk.Reference(nfet_06v0_nvt_tap, (39.16,2.71)))
gf180_combined_cmim_onto.add(gdstk.Reference(diode_nd2ps_03v3, (1,26.12)))
gf180_combined_cmim_onto.add(gdstk.Reference(diode_pd2nw_03v3, (6.64,26.39)))
gf180_combined_cmim_onto.add(gdstk.Reference(cap_nmos_03v3, (12.06,28.09)))
gf180_combined_cmim_onto.add(gdstk.Reference(ppolyf_u, (20.63,26.815)))
gf180_combined_cmim_onto.add(gdstk.Reference(npolyf_u, (28.29,26.815)))
gf180_combined_cmim_onto.add(gdstk.Reference(ppolyf_u_1k, (35.83,26.36)))
gf180_combined_cmim_onto.add(gdstk.Reference(nfet_03v3_tap, (0.59,42.23)))
gf180_combined_cmim_onto.add(gdstk.Reference(pfet_03v3_tap, (8.3,42.94)))
gf180_combined_cmim_onto.add(gdstk.Reference(nfet_06v0_tap, (15.86,42.64)))
gf180_combined_cmim_onto.add(gdstk.Reference(pfet_06v0_tap, (24.56,43.44)))
gf180_combined_cmim_onto.add(gdstk.Reference(nfet_05v0_tap, (33.13,42.64)))
gf180_combined_cmim_onto.add(gdstk.Reference(pfet_05v0_tap, (41.83,43.44)))
gf180_combined_cmim_onto.add(gdstk.Reference(cap_mim, (0,0)))
gf180_combined_cmim_onto.add(gdstk.Label('G', (-4,49.74), layer=42, texttype=10))
gf180_combined_cmim_onto.add(gdstk.Label('VSS', (-3,48.74), layer=42, texttype=10))
gf180_combined_cmim_onto.add(gdstk.Label('VDD', (-2,47.74), layer=42, texttype=10))

lib.write_gds('gf180_combined_cmim_ontop.gds')
